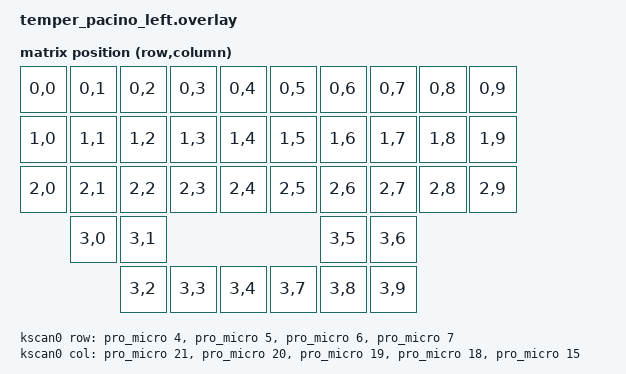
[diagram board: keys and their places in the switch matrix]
/*
 * TEMPORARY test shield: the temper's LEFT half standing in as the pacino's left half, i.e. a
 * peripheral for a pacino right half running as the central (config/pacino_right.conf).
 *
 * Hardware is the temper left (same kscan pins); the matrix transform uses the PACINO's position
 * numbering, so this half's keys land on the pacino keymap's left-half positions: letters on
 * 0-4 / 10-14 / 20-24 and the three thumbs on 34-36. The pacino positions this half does not
 * have (the right half and the four extras) point at matrix slots that never fire here.
 *
 * Bring-up:
 *   1. flash settings_reset on the temper left first (it was the temper's central, it holds bonds),
 *   2. flash this firmware on it,
 *   3. power it next to the pacino right central; they find and bond each other automatically.
 *
 * Giving the half back to the temper later: settings_reset BOTH temper halves and reflash them
 * (the temper right is bonded to the old left-central identity), then delete this shield,
 * config/temper_pacino.conf and its build.yaml entry.
 */

#include <dt-bindings/zmk/matrix_transform.h>

/ {
    chosen {
        zmk,kscan = &kscan0;
        zmk,matrix-transform = &default_transform;
    };

    default_transform: keymap_transform_0 {
        compatible = "zmk,matrix-transform";
        columns = <10>;
        rows = <4>;
        map = <
RC(0,0) RC(0,1) RC(0,2) RC(0,3) RC(0,4)      RC(0,5) RC(0,6) RC(0,7) RC(0,8) RC(0,9)
RC(1,0) RC(1,1) RC(1,2) RC(1,3) RC(1,4)      RC(1,5) RC(1,6) RC(1,7) RC(1,8) RC(1,9)
RC(2,0) RC(2,1) RC(2,2) RC(2,3) RC(2,4)      RC(2,5) RC(2,6) RC(2,7) RC(2,8) RC(2,9)
        RC(3,0) RC(3,1)                              RC(3,5) RC(3,6)
                RC(3,2) RC(3,3) RC(3,4)      RC(3,7) RC(3,8) RC(3,9)
        >;
    };

    kscan0: kscan {
        compatible = "zmk,kscan-gpio-matrix";
        diode-direction = "col2row";
        wakeup-source;

        row-gpios
            = <&pro_micro 4 (GPIO_ACTIVE_HIGH | GPIO_PULL_DOWN)>
            , <&pro_micro 5 (GPIO_ACTIVE_HIGH | GPIO_PULL_DOWN)>
            , <&pro_micro 6 (GPIO_ACTIVE_HIGH | GPIO_PULL_DOWN)>
            , <&pro_micro 7 (GPIO_ACTIVE_HIGH | GPIO_PULL_DOWN)>
            ;
        col-gpios
            = <&pro_micro 21 GPIO_ACTIVE_HIGH>
            , <&pro_micro 20 GPIO_ACTIVE_HIGH>
            , <&pro_micro 19 GPIO_ACTIVE_HIGH>
            , <&pro_micro 18 GPIO_ACTIVE_HIGH>
            , <&pro_micro 15 GPIO_ACTIVE_HIGH>
            ;
    };
};
